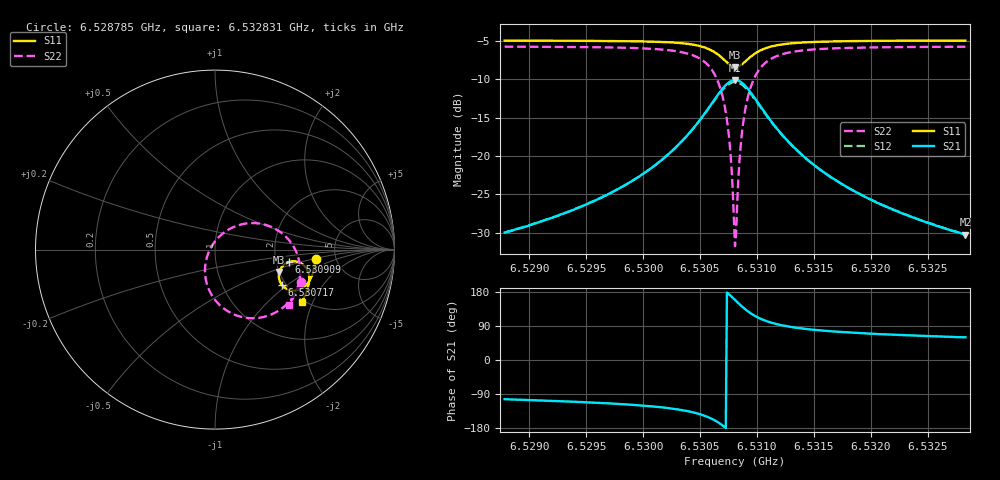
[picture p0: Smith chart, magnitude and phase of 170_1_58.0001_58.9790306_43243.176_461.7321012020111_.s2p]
#  HZ  S  RI  R  50.00
! Rohde & Schwarz Vector Network Analyzer
! Rohde-Schwarz,ZNB20-2Port,1311601062101988,3.16
! Created: UTC 3/21/2024, 12:57:53 AM
! freq[Hz]  re:S11  im:S11  re:S21  im:S21  re:S12  im:S12  re:S22  im:S22
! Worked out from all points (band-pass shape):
!   401 points, 6.528785 GHz to 6.532831 GHz, reference 50 ohm
!   highest |S21| = -10.12 dB at 6.530808 GHz (marker M1); lowest = -30.2 dB at 6.532831 GHz (marker M2)
!   |S21| within 3 dB of the highest: 6.530606 GHz to 6.531012 GHz (405.3 kHz wide, 0.00621 % of centre)
!   lowest |S11| = -8.4 dB at 6.530808 GHz (marker M3), VSWR 2.22, Z = 100 - j29.1 ohm
!   |S11| at or under -10 dB: nowhere
!   |S22| runs from -31.7 to -5.8 dB; largest |S21 - S12| = 0.013
!   S11 on the Smith chart (normalised r, x): 6.528785 GHz: 3.49, -0.52; 6.530717 GHz: 1.90, -0.90; 6.530909 GHz: 2.37, -0.39; 6.532831 GHz: 1.94, -1.66
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6.5287845e9  0.5604 -0.0513  -0.0074 -0.0309  -0.00806 -0.0307  0.4815 -0.1812
6.5294623e9  0.5512 -0.1083  -0.0169 -0.0439  -0.0179 -0.0435  0.4493 -0.244
6.5298367e9  0.5405 -0.1436  -0.029 -0.0573  -0.0307 -0.0566  0.4163 -0.2878
6.5301402e9  0.5239 -0.1771  -0.0512 -0.0754  -0.0534 -0.0739  0.3656 -0.3331
6.5303729e9  0.4973 -0.2076  -0.0915 -0.0951  -0.0944 -0.092  0.2832 -0.3723
6.5305449e9  0.4533 -0.2275  -0.1608 -0.1021  -0.1633 -0.0952  0.155 -0.3767
6.530646e9  0.4076 -0.2227  -0.2317 -0.0752  -0.2308 -0.0653  0.0365 -0.3182
6.5307168e9  0.3718 -0.1952  -0.2838 -0.0159  -0.2777 -0.00546  -0.0397 -0.208
6.5307573e9  0.3581 -0.1669  -0.3001 0.0379  -0.2908 0.0464  -0.0559 -0.116
6.5307978e9  0.3567 -0.133  -0.2953 0.0996  -0.284 0.1041  -0.036 -0.0163
6.5308079e9  0.3585 -0.1244  -0.2903 0.1145  -0.2789 0.1182  -0.0248 0.00754
6.530818e9  0.3613 -0.1161  -0.2838 0.1289  -0.2724 0.1318  -0.0114 0.0301
6.5308281e9  0.365 -0.1083  -0.276 0.1428  -0.2647 0.1446  0.00416 0.0509
6.5308484e9  0.3746 -0.094  -0.2567 0.1672  -0.2461 0.1671  0.0403 0.0872
6.5308686e9  0.3865 -0.0823  -0.2339 0.1869  -0.2243 0.1853  0.0813 0.1149
6.5309091e9  0.4137 -0.0683  -0.1844 0.2106  -0.1774 0.2073  0.1675 0.1446
6.5309799e9  0.4574 -0.0672  -0.1078 0.2129  -0.1042 0.2098  0.2962 0.1332
6.5310811e9  0.4962 -0.0889  -0.0418 0.1816  -0.04 0.1798  0.4026 0.0641
6.5312328e9  0.5187 -0.1249  -0.00179 0.1345  -0.000479 0.1339  0.4605 -0.0329
6.5314857e9  0.5249 -0.1686  0.0153 0.088  0.0166 0.0878  0.4749 -0.1316
6.5321636e9  0.5082 -0.2399  0.0178 0.0421  0.0187 0.042  0.4458 -0.2484
6.5328313e9  0.4838 -0.2911  0.0154 0.0266  0.0162 0.0263  0.411 -0.3083
